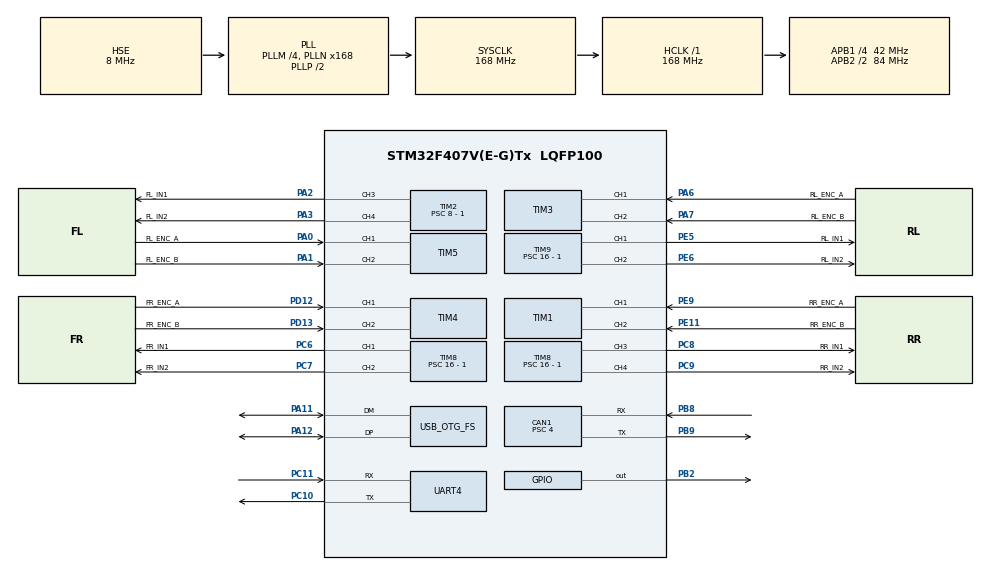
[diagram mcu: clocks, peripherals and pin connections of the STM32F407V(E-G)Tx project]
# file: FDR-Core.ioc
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CAN1.ABOM=ENABLE
CAN1.BS1=CAN_BS1_16TQ
CAN1.BS2=CAN_BS2_4TQ
CAN1.CalculateBaudRate=500000
CAN1.CalculateTimeBit=2000
CAN1.CalculateTimeQuantum=95.23809523809524
CAN1.Prescaler=4
CAN1.SJW=CAN_SJW_2TQ
Mcu.Family=STM32F4
Mcu.Name=STM32F407V(E-G)Tx
Mcu.Package=LQFP100
NVIC.CAN1_RX0_IRQn=true\:1\:0\:true\:false\:true\:true\:true\:true
NVIC.CAN1_SCE_IRQn=true\:2\:0\:true\:false\:true\:true\:true\:true
NVIC.OTG_FS_IRQn=true\:3\:0\:true\:false\:true\:false\:true\:true
NVIC.PriorityGroup=NVIC_PRIORITYGROUP_4
NVIC.TIM6_DAC_IRQn=true\:0\:0\:true\:false\:true\:true\:true\:true
PA0-WKUP.GPIO_Label=FL_ENC_A
PA0-WKUP.Signal=S_TIM5_CH1
PA1.GPIO_Label=FL_ENC_B
PA1.Signal=S_TIM5_CH2
PA11.Mode=Device_Only
PA11.Signal=USB_OTG_FS_DM
PA12.Mode=Device_Only
PA12.Signal=USB_OTG_FS_DP
PA13.Mode=Serial_Wire
PA13.Signal=SYS_JTMS-SWDIO
PA14.Mode=Serial_Wire
PA14.Signal=SYS_JTCK-SWCLK
PA2.GPIO_Label=FL_IN1
PA2.Signal=S_TIM2_CH3
PA3.GPIO_Label=FL_IN2
PA3.Signal=S_TIM2_CH4
PA6.GPIO_Label=RL_ENC_A
PA6.Signal=S_TIM3_CH1
PA7.GPIO_Label=RL_ENC_B
PA7.Signal=S_TIM3_CH2
PB2.Signal=GPIO_Output
PB8.Mode=CAN_Activate
PB8.Signal=CAN1_RX
PB9.Mode=CAN_Activate
PB9.Signal=CAN1_TX
PC10.Mode=Asynchronous
PC10.Signal=UART4_TX
PC11.Mode=Asynchronous
PC11.Signal=UART4_RX
PC14-OSC32_IN.Mode=LSE-External-Oscillator
PC14-OSC32_IN.Signal=RCC_OSC32_IN
PC15-OSC32_OUT.Mode=LSE-External-Oscillator
PC15-OSC32_OUT.Signal=RCC_OSC32_OUT
PC6.GPIO_Label=FR_IN1
PC6.Signal=S_TIM8_CH1
PC7.GPIO_Label=FR_IN2
PC7.Signal=S_TIM8_CH2
PC8.GPIO_Label=RR_IN1
PC8.Signal=S_TIM8_CH3
PC9.GPIO_Label=RR_IN2
PC9.Signal=S_TIM8_CH4
PD12.GPIO_Label=FR_ENC_A
PD12.Signal=S_TIM4_CH1
PD13.GPIO_Label=FR_ENC_B
PD13.Signal=S_TIM4_CH2
PE11.GPIO_Label=RR_ENC_B
PE11.Signal=S_TIM1_CH2
PE5.GPIO_Label=RL_IN1
PE5.Signal=S_TIM9_CH1
PE6.GPIO_Label=RL_IN2
PE6.Signal=S_TIM9_CH2
PE9.GPIO_Label=RR_ENC_A
PE9.Signal=S_TIM1_CH1
PH0-OSC_IN.Mode=HSE-External-Oscillator
PH0-OSC_IN.Signal=RCC_OSC_IN
PH1-OSC_OUT.Mode=HSE-External-Oscillator
PH1-OSC_OUT.Signal=RCC_OSC_OUT
ProjectManager.HeapSize=0x800
ProjectManager.StackSize=0x400
ProjectManager.TargetToolchain=CMake
RCC.48MHZClocksFreq_Value=48000000
RCC.AHBFreq_Value=168000000
RCC.APB1CLKDivider=RCC_HCLK_DIV4
RCC.APB1Freq_Value=42000000
RCC.APB1TimFreq_Value=84000000
RCC.APB2CLKDivider=RCC_HCLK_DIV2
RCC.APB2Freq_Value=84000000
RCC.APB2TimFreq_Value=168000000
RCC.CortexFreq_Value=168000000
RCC.HCLKFreq_Value=168000000
RCC.HSE_VALUE=8000000
RCC.HSI_VALUE=16000000
RCC.PLLM=4
RCC.PLLN=168
RCC.PLLQ=7
RCC.SYSCLKFreq_VALUE=168000000
RCC.SYSCLKSource=RCC_SYSCLKSOURCE_PLLCLK
RCC.VCOOutputFreq_Value=336000000
SH.S_TIM1_CH1.0=TIM1_CH1,Encoder_Interface
SH.S_TIM1_CH2.0=TIM1_CH2,Encoder_Interface
SH.S_TIM2_CH3.0=TIM2_CH3,PWM Generation3 CH3
SH.S_TIM2_CH4.0=TIM2_CH4,PWM Generation4 CH4
SH.S_TIM3_CH1.0=TIM3_CH1,Encoder_Interface
SH.S_TIM3_CH2.0=TIM3_CH2,Encoder_Interface
SH.S_TIM4_CH1.0=TIM4_CH1,Encoder_Interface
SH.S_TIM4_CH2.0=TIM4_CH2,Encoder_Interface
SH.S_TIM5_CH1.0=TIM5_CH1,Encoder_Interface
SH.S_TIM5_CH2.0=TIM5_CH2,Encoder_Interface
SH.S_TIM8_CH1.0=TIM8_CH1,PWM Generation1 CH1
SH.S_TIM8_CH2.0=TIM8_CH2,PWM Generation2 CH2
SH.S_TIM8_CH3.0=TIM8_CH3,PWM Generation3 CH3
SH.S_TIM8_CH4.0=TIM8_CH4,PWM Generation4 CH4
SH.S_TIM9_CH1.0=TIM9_CH1,PWM Generation1 CH1
SH.S_TIM9_CH2.0=TIM9_CH2,PWM Generation2 CH2
TIM1.EncoderMode=TIM_ENCODERMODE_TI12
TIM1.IC1Filter=6
TIM1.IC2Filter=6
TIM2.Channel-PWM\ Generation3\ CH3=TIM_CHANNEL_3
TIM2.Channel-PWM\ Generation4\ CH4=TIM_CHANNEL_4
TIM2.Period=1050 - 1
TIM2.Prescaler=8 - 1
TIM3.EncoderMode=TIM_ENCODERMODE_TI12
TIM3.IC1Filter=6
TIM3.IC2Filter=6
TIM4.EncoderMode=TIM_ENCODERMODE_TI12
TIM4.IC1Filter=6
TIM5.EncoderMode=TIM_ENCODERMODE_TI12
TIM5.IC1Filter=6
TIM5.IC2Filter=6
TIM6.AutoReloadPreload=TIM_AUTORELOAD_PRELOAD_ENABLE
TIM6.Period=10000-1
TIM6.Prescaler=84-1
TIM8.Channel-PWM\ Generation1\ CH1=TIM_CHANNEL_1
TIM8.Channel-PWM\ Generation2\ CH2=TIM_CHANNEL_2
TIM8.Channel-PWM\ Generation3\ CH3=TIM_CHANNEL_3
TIM8.Channel-PWM\ Generation4\ CH4=TIM_CHANNEL_4
TIM8.Period=1050 - 1
TIM8.Prescaler=16 - 1
TIM9.Channel-PWM\ Generation1\ CH1=TIM_CHANNEL_1
TIM9.Channel-PWM\ Generation2\ CH2=TIM_CHANNEL_2
TIM9.Period=1050 - 1
TIM9.Prescaler=16 - 1
UART4.VirtualMode=Asynchronous
USB_DEVICE.CLASS_NAME_FS=CDC
USB_DEVICE.VirtualMode-CDC_FS=Cdc
USB_DEVICE.VirtualModeFS=Cdc_FS
USB_OTG_FS.VirtualMode=Device_Only
VP_TIM6_VS_ClockSourceINT.Mode=Enable_Timer
VP_USB_DEVICE_VS_USB_DEVICE_CDC_FS.Mode=CDC_FS
board=custom

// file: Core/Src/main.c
/* USER CODE BEGIN Header */

#include <stdio.h>
#include "ladrc.h"
#include "usbd_cdc_if.h" // USB 虚拟串口发送头文件
#include "f4_can_app.h"
#include "usart.h"
/**
  ******************************************************************************
  * @file           : main.c
  * @brief          : Main program body
  ******************************************************************************
  * @attention
  *
  * Copyright (c) 2026 STMicroelectronics.
  * All rights reserved.
  *
  * This software is licensed under terms that can be found in the LICENSE file
  * in the root directory of this software component.
  * If no LICENSE file comes with this software, it is provided AS-IS.
  *
  ******************************************************************************
  */
/* USER CODE END Header */
#include "main.h"
#include "can.h"
#include "tim.h"
#include "usart.h"
#include "usb_device.h"
#include "gpio.h"

/* USER CODE BEGIN PD */
#define TELEMETRY_TX_PERIOD_MS    20U
/* USER CODE END PD */

/* USER CODE BEGIN PV */
extern USBD_HandleTypeDef hUsbDeviceFS;
/* USER CODE END PV */

void SystemClock_Config(void);

/* USER CODE BEGIN 0 */
int _write(int file, char *ptr, int len)
{
  uint32_t start_tick;
  uint8_t result;

  (void)file;

  if ((ptr == NULL) || (len <= 0))
  {
    return 0;
  }

  if (hUsbDeviceFS.dev_state != USBD_STATE_CONFIGURED)
  {
    return 0;
  }

  start_tick = HAL_GetTick();
  do
  {
    result = CDC_Transmit_FS((uint8_t *)ptr, (uint16_t)len);
    if (result == USBD_OK)
    {
      return len;
    }
  } while ((result == USBD_BUSY) && ((HAL_GetTick() - start_tick) < 2U));

  return 0;
}
/* USER CODE END 0 */

int main(void)
{

  /* MCU Configuration--------------------------------------------------------*/

  /* Reset of all peripherals, Initializes the Flash interface and the Systick. */
  HAL_Init();

  /* Configure the system clock */
  SystemClock_Config();

  /* Initialize all configured peripherals */
  MX_GPIO_Init();
  MX_TIM1_Init();
  MX_TIM2_Init();
  MX_TIM3_Init();
  MX_TIM4_Init();
  MX_TIM5_Init();
  MX_TIM8_Init();
  MX_USB_DEVICE_Init();
  MX_TIM9_Init();
  MX_TIM6_Init();
  MX_CAN1_Init();
  MX_UART4_Init();
  /* USER CODE BEGIN 2 */
  FourWheel_LADRC_Init();
  HAL_Delay(1000);
  CAN_App_Init();

  /* 启动 10ms 硬实时控制节拍。 */
  if (HAL_TIM_Base_Start_IT(&htim6) != HAL_OK)
  {
    Error_Handler();
  }
  /* USER CODE END 2 */

  /* Infinite loop */
  while (1)
  {

    /* USER CODE BEGIN 3 */
    /*
     * 20ms 周期发送的“无漂移（driftless）”调度器：
     *
     * 之前版本用 last = now 的写法：
     *   if (now - last >= period) { last = now; ... }
     * 在主循环存在抖动/阻塞时会把“相位”带着一起漂移，表现为 20ms 周期不再对齐。
     *
     * 这里改成 next_deadline += period 的写法，让发送时刻尽量锁在固定相位上；
     * 若主循环被阻塞太久（落后 >= 1 个周期），则做一次“软重同步”，避免一口气补发多次造成总线突发。
     */
    static uint32_t next_telemetry_deadline = 0U;
    uint32_t now = HAL_GetTick();

    if (next_telemetry_deadline == 0U)
    {
      next_telemetry_deadline = now + TELEMETRY_TX_PERIOD_MS;
    }

    if ((int32_t)(now - next_telemetry_deadline) >= 0)
    {
      next_telemetry_deadline += TELEMETRY_TX_PERIOD_MS;
      CAN_Send_Telemetry_20ms();

      /* 如果主循环太慢导致仍然落后（>= 1 周期），重同步，避免连发突刺。 */
      if ((int32_t)(now - next_telemetry_deadline) >= 0)
      {
        next_telemetry_deadline = now + TELEMETRY_TX_PERIOD_MS;
        /* 可选：在这里置一个诊断位，提示“Telemetry Late”。 */
        /* CAN_Report_TelemetryLate(); */
      }
    }

    /*
     * 主循环保持轻量。
     * 如果后续要加 LED、串口 shell、参数配置等慢任务，尽量都放这里。
     */
    /* USER CODE END WHILE */
  }
  /* USER CODE END 3 */
}

void SystemClock_Config(void)
{
  RCC_OscInitTypeDef RCC_OscInitStruct = {0};
  RCC_ClkInitTypeDef RCC_ClkInitStruct = {0};

  /** Configure the main internal regulator output voltage
  */
  __HAL_RCC_PWR_CLK_ENABLE();
  __HAL_PWR_VOLTAGESCALING_CONFIG(PWR_REGULATOR_VOLTAGE_SCALE1);

  /** Initializes the RCC Oscillators according to the specified parameters
  * in the RCC_OscInitTypeDef structure.
  */
  RCC_OscInitStruct.OscillatorType = RCC_OSCILLATORTYPE_HSE;
  RCC_OscInitStruct.HSEState = RCC_HSE_ON;
  RCC_OscInitStruct.PLL.PLLState = RCC_PLL_ON;
  RCC_OscInitStruct.PLL.PLLSource = RCC_PLLSOURCE_HSE;
  RCC_OscInitStruct.PLL.PLLM = 4;
  RCC_OscInitStruct.PLL.PLLN = 168;
  RCC_OscInitStruct.PLL.PLLP = RCC_PLLP_DIV2;
  RCC_OscInitStruct.PLL.PLLQ = 7;
  if (HAL_RCC_OscConfig(&RCC_OscInitStruct) != HAL_OK)
  {
    Error_Handler();
  }

  /** Initializes the CPU, AHB and APB buses clocks
  */
  RCC_ClkInitStruct.ClockType = RCC_CLOCKTYPE_HCLK|RCC_CLOCKTYPE_SYSCLK
                              |RCC_CLOCKTYPE_PCLK1|RCC_CLOCKTYPE_PCLK2;
  RCC_ClkInitStruct.SYSCLKSource = RCC_SYSCLKSOURCE_PLLCLK;
  RCC_ClkInitStruct.AHBCLKDivider = RCC_SYSCLK_DIV1;
  RCC_ClkInitStruct.APB1CLKDivider = RCC_HCLK_DIV4;
  RCC_ClkInitStruct.APB2CLKDivider = RCC_HCLK_DIV2;

  if (HAL_RCC_ClockConfig(&RCC_ClkInitStruct, FLASH_LATENCY_5) != HAL_OK)
  {
    Error_Handler();
  }
}

/* USER CODE BEGIN 4 */
/**
  * @brief  定时器周期中断回调。
  * @note   TIM6 是整个底盘控制的“硬实时心跳”。
  *         固定顺序：
  *         1) 控制命令看门狗
  *         2) 差速逆解算
  *         3) 四轮 LADRC 闭环
  *         4) 基于最新反馈做故障诊断
  */
void HAL_TIM_PeriodElapsedCallback(TIM_HandleTypeDef *htim)
{
  if (htim->Instance == TIM6)
  {
    CAN_Safety_Watchdog_Tick();
    Kinematics_Update_LADRC();
    FourWheel_LADRC_Control_Loop();
    Chassis_Diagnostics_10ms_Tick();
  }
}
/* USER CODE END 4 */

void Error_Handler(void)
{
  __disable_irq();
  while (1)
  {
  }
}
